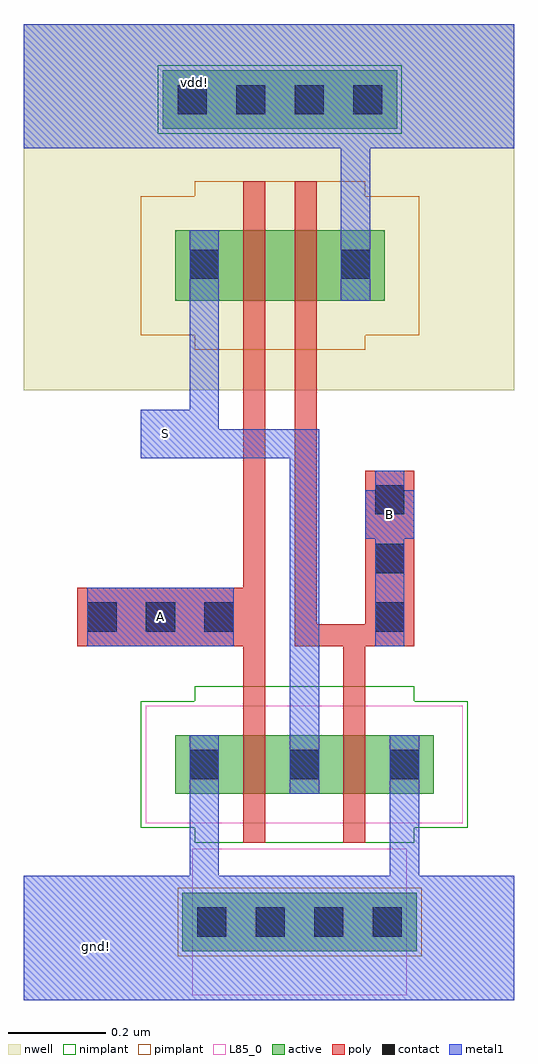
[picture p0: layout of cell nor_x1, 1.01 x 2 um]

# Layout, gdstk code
from math import pi, radians
import gdstk
lib = gdstk.Library(unit=1e-6, precision=5e-10)
def R(c, l, rs):  # rectangles x0, y0, x1, y1
    for r in rs: c.add(gdstk.rectangle(r[:2], r[2:], *l))
def A(c, l, x, y, w, h, nx, ny, dx, dy):  # array of equal rectangles
    R(c, l, [(x+i*dx, y+j*dy, x+i*dx+w, y+j*dy+h) for i in range(nx) for j in range(ny)])
active = (1, 0)
nwell = (2, 0)
poly = (3, 0)
nimplant = (4, 0)
pimplant = (5, 0)
contact = (6, 0)
metal1 = (7, 0)
L85_0 = (85, 0)

pmos1v_cdns_764210198320 = lib.new_cell('pmos1v_CDNS_764210198320')
R(pmos1v_cdns_764210198320, active, [(-0.14,0,0,0.145), (0,0,0.045,0.145), (0.045,0,0.075,0.145)])
R(pmos1v_cdns_764210198320, nwell, [(-0.2,-0.06,0.135,0.205)])
R(pmos1v_cdns_764210198320, poly, [(0,-0.1,0.045,-0.05), (0,-0.05,0.045,0), (0,0,0.045,0.145), (0,0.145,0.045,0.195), (0,0.195,0.045,0.245)])
R(pmos1v_cdns_764210198320, pimplant, [(-0.1,-0.1,0.145,0.245), (-0.21,-0.07,0.145,0.215)])
R(pmos1v_cdns_764210198320, contact, [(-0.11,0.045,-0.05,0.105)])
R(pmos1v_cdns_764210198320, metal1, [(-0.11,0,-0.05,0.145)])

nmos1v_cdns_764210198321 = lib.new_cell('nmos1v_CDNS_764210198321')
R(nmos1v_cdns_764210198321, active, [(-0.14,0,0,0.12), (0,0,0.045,0.12), (0.045,0,0.095,0.12)])
R(nmos1v_cdns_764210198321, poly, [(0,-0.1,0.045,-0.05), (0,-0.05,0.045,0), (0,0,0.045,0.12), (0,0.12,0.045,0.17), (0,0.17,0.045,0.22)])
R(nmos1v_cdns_764210198321, nimplant, [(-0.1,-0.1,0.145,0.22), (-0.21,-0.07,0.165,0.19)])
R(nmos1v_cdns_764210198321, contact, [(-0.11,0.03,-0.05,0.09)])
R(nmos1v_cdns_764210198321, metal1, [(-0.11,0,-0.05,0.12)])
R(nmos1v_cdns_764210198321, L85_0, [(-0.2,-0.06,0.155,0.18)])

nmos1v_cdns_764210198322 = lib.new_cell('nmos1v_CDNS_764210198322')
R(nmos1v_cdns_764210198322, active, [(-0.14,0,0,0.12), (0,0,0.045,0.12), (0.045,0,0.155,0.12)])
R(nmos1v_cdns_764210198322, poly, [(0,-0.1,0.045,-0.05), (0,-0.05,0.045,0), (0,0,0.045,0.12), (0,0.12,0.045,0.17), (0,0.17,0.045,0.22)])
R(nmos1v_cdns_764210198322, nimplant, [(-0.1,-0.1,0.145,0.22), (-0.21,-0.07,0.225,0.19)])
R(nmos1v_cdns_764210198322, contact, [(-0.11,0.03,-0.05,0.09), (0.095,0.03,0.155,0.09)])
R(nmos1v_cdns_764210198322, metal1, [(-0.11,0,-0.05,0.12), (0.095,0,0.155,0.12)])
R(nmos1v_cdns_764210198322, L85_0, [(-0.2,-0.06,0.215,0.18)])

m1_po_cdns_764210198320 = lib.new_cell('M1_PO_CDNS_764210198320')
R(m1_po_cdns_764210198320, poly, [(-0.17,-0.06,0.17,0.06)])
A(m1_po_cdns_764210198320, contact, -0.15, -0.03, 0.06, 0.06, 3, 1, 0.12, 0)
R(m1_po_cdns_764210198320, metal1, [(-0.15,-0.06,0.15,0.06)])

m1_po_cdns_764210198321 = lib.new_cell('M1_PO_CDNS_764210198321')
R(m1_po_cdns_764210198321, poly, [(-0.05,-0.18,0.05,0.18)])
A(m1_po_cdns_764210198321, contact, -0.03, -0.15, 0.06, 0.06, 1, 3, 0, 0.12)
R(m1_po_cdns_764210198321, metal1, [(-0.03,-0.18,0.03,0.18)])

m1_nwell_cdns_7642101983 = lib.new_cell('M1_NWELL_CDNS_764210198322')
R(m1_nwell_cdns_7642101983, active, [(-0.24,-0.06,0.24,0.06)])
R(m1_nwell_cdns_7642101983, nwell, [(-0.27,-0.15,0.27,0.15)])
R(m1_nwell_cdns_7642101983, nimplant, [(-0.25,-0.07,0.25,0.07)])
A(m1_nwell_cdns_7642101983, contact, -0.21, -0.03, 0.06, 0.06, 4, 1, 0.12, 0)
R(m1_nwell_cdns_7642101983, metal1, [(-0.21,-0.06,0.21,0.06)])

m1_psub_cdns_76421019832 = lib.new_cell('M1_PSUB_CDNS_764210198323')
R(m1_psub_cdns_76421019832, active, [(-0.24,-0.06,0.24,0.06)])
R(m1_psub_cdns_76421019832, pimplant, [(-0.25,-0.07,0.25,0.07)])
A(m1_psub_cdns_76421019832, contact, -0.21, -0.03, 0.06, 0.06, 4, 1, 0.12, 0)
R(m1_psub_cdns_76421019832, metal1, [(-0.21,-0.06,0.21,0.06)])
R(m1_psub_cdns_76421019832, L85_0, [(-0.22,-0.15,0.22,0.15)])

nor_x1 = lib.new_cell('nor_x1')
R(nor_x1, nwell, [(0,1.25,1.005,2)])
R(nor_x1, metal1, [(0,0,1.005,0.255), (0.1,0.06,0.2,0.16), (0.23,0.735,0.33,0.835), (0.7,0.945,0.8,1.045), (0.24,1.11,0.34,1.21), (0,1.745,1.005,2), (0.3,1.83,0.4,1.93)])
nor_x1.add(gdstk.FlexPath([(0.6775,0.7475),(0.6775,0.495)], 0.045, ends=(0.0225, 0), simple_path=True, layer=3, datatype=0))  # poly
nor_x1.add(gdstk.FlexPath([(0.5775,0.7475),(0.6775,0.7475)], 0.045, ends="extended", simple_path=True, layer=3, datatype=0))  # poly
nor_x1.add(gdstk.FlexPath([(0.5775,1.335),(0.5775,0.7475)], 0.045, ends=(0, 0.0225), simple_path=True, layer=3, datatype=0))  # poly
nor_x1.add(gdstk.FlexPath([(0.4725,0.6425),(0.4725,1.335)], 0.045, ends=(0.0225, 0), simple_path=True, layer=3, datatype=0))  # poly
nor_x1.add(gdstk.FlexPath([(0.475,0.6425),(0.4725,0.6425)], 0.045, ends=(0.02, 0.0225), simple_path=True, layer=3, datatype=0))  # poly
nor_x1.add(gdstk.FlexPath([(0.71,1.505),(0.68,1.505)], 0.06, ends=(0, 0.03), simple_path=True, layer=7, datatype=0))  # metal1
nor_x1.add(gdstk.FlexPath([(0.605,0.485),(0.575,0.485)], 0.06, ends=(0, 0.03), simple_path=True, layer=7, datatype=0))  # metal1
nor_x1.add(gdstk.FlexPath([(0.78,0.425),(0.78,0.255)], 0.06, ends="flush", simple_path=True, layer=7, datatype=0))  # metal1
nor_x1.add(gdstk.FlexPath([(0.37,0.425),(0.37,0.255)], 0.06, ends="flush", simple_path=True, layer=7, datatype=0))  # metal1
nor_x1.add(gdstk.FlexPath([(0.68,1.505),(0.68,1.745)], 0.06, ends=(0.03, 0), simple_path=True, layer=7, datatype=0))  # metal1
nor_x1.add(gdstk.FlexPath([(0.575,0.485),(0.575,1.14)], 0.06, ends="extended", simple_path=True, layer=7, datatype=0))  # metal1
nor_x1.add(gdstk.FlexPath([(0.575,1.14),(0.37,1.14)], 0.06, ends="extended", simple_path=True, layer=7, datatype=0))  # metal1
nor_x1.add(gdstk.FlexPath([(0.37,1.14),(0.37,1.505)], 0.06, ends="extended", simple_path=True, layer=7, datatype=0))  # metal1
nor_x1.add(gdstk.FlexPath([(0.37,1.505),(0.4,1.505)], 0.06, ends=(0.03, 0), simple_path=True, layer=7, datatype=0))  # metal1
nor_x1.add(gdstk.Reference(pmos1v_cdns_764210198320, (0.45,1.4325)))
nor_x1.add(gdstk.Reference(pmos1v_cdns_764210198320, (0.6,1.4325), rotation=pi, x_reflection=True))
nor_x1.add(gdstk.Reference(nmos1v_cdns_764210198321, (0.7,0.4225), rotation=pi, x_reflection=True))
nor_x1.add(gdstk.Reference(nmos1v_cdns_764210198322, (0.45,0.4225)))
nor_x1.add(gdstk.Reference(m1_po_cdns_764210198320, (0.28,0.785)))
nor_x1.add(gdstk.Reference(m1_po_cdns_764210198321, (0.75,0.905)))
nor_x1.add(gdstk.Reference(m1_nwell_cdns_7642101983, (0.525,1.845)))
nor_x1.add(gdstk.Reference(m1_psub_cdns_76421019832, (0.565,0.16)))
nor_x1.add(gdstk.Label('vdd!', (0.35,1.88), layer=7, texttype=0))
nor_x1.add(gdstk.Label('gnd!', (0.15,0.11), layer=7, texttype=0))
nor_x1.add(gdstk.Label('S', (0.29,1.16), layer=7, texttype=0))
nor_x1.add(gdstk.Label('B', (0.75,0.995), layer=7, texttype=0))
nor_x1.add(gdstk.Label('A', (0.28,0.785), layer=7, texttype=0))

lib.write_gds('nor_x1.gds')
